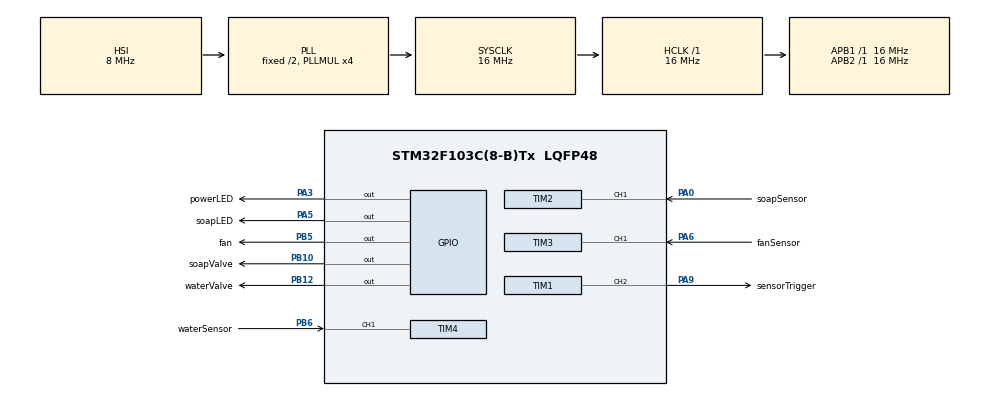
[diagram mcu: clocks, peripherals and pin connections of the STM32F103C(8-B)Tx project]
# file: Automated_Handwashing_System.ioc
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Mcu.Family=STM32F1
Mcu.Name=STM32F103C(8-B)Tx
Mcu.Package=LQFP48
NVIC.PriorityGroup=NVIC_PRIORITYGROUP_4
PA0-WKUP.GPIO_Label=soapSensor
PA0-WKUP.Signal=S_TIM2_CH1_ETR
PA13.Mode=Serial_Wire
PA13.Signal=SYS_JTMS-SWDIO
PA14.Mode=Serial_Wire
PA14.Signal=SYS_JTCK-SWCLK
PA3.GPIO_Label=powerLED
PA3.GPIO_Speed=GPIO_SPEED_FREQ_LOW
PA3.Signal=GPIO_Output
PA5.GPIO_Label=soapLED
PA5.GPIO_Speed=GPIO_SPEED_FREQ_LOW
PA5.Signal=GPIO_Output
PA6.GPIO_Label=fanSensor
PA6.Signal=S_TIM3_CH1
PA9.GPIO_Label=sensorTrigger
PA9.Signal=S_TIM1_CH2
PB10.GPIO_Label=soapValve
PB10.GPIO_Speed=GPIO_SPEED_FREQ_LOW
PB10.Signal=GPIO_Output
PB12.GPIO_Label=waterValve
PB12.GPIO_Speed=GPIO_SPEED_FREQ_LOW
PB12.PinState=GPIO_PIN_SET
PB12.Signal=GPIO_Output
PB5.GPIO_Label=fan
PB5.GPIO_Speed=GPIO_SPEED_FREQ_LOW
PB5.Signal=GPIO_Output
PB6.GPIO_Label=waterSensor
PB6.Signal=S_TIM4_CH1
ProjectManager.HeapSize=0x200
ProjectManager.StackSize=0x400
ProjectManager.TargetToolchain=STM32CubeIDE
RCC.AHBFreq_Value=16000000
RCC.APB1Freq_Value=16000000
RCC.APB1TimFreq_Value=16000000
RCC.APB2Freq_Value=16000000
RCC.APB2TimFreq_Value=16000000
RCC.HCLKFreq_Value=16000000
RCC.PLLMUL=RCC_PLL_MUL4
RCC.SYSCLKFreq_VALUE=16000000
RCC.SYSCLKSource=RCC_SYSCLKSOURCE_PLLCLK
RCC.USBFreq_Value=16000000
SH.S_TIM1_CH2.0=TIM1_CH2,PWM Generation2 CH2
SH.S_TIM2_CH1_ETR.0=TIM2_CH1,PWM_Input_1
SH.S_TIM3_CH1.0=TIM3_CH1,PWM_Input_1
SH.S_TIM4_CH1.0=TIM4_CH1,PWM_Input_1
TIM1.AutoReloadPreload=TIM_AUTORELOAD_PRELOAD_ENABLE
TIM1.Channel-PWM\ Generation2\ CH2=TIM_CHANNEL_2
TIM1.Period=32000 - 1
TIM1.Prescaler=10 - 1
TIM1.Pulse-PWM\ Generation2\ CH2=24
TIM2.AutoReloadPreload=TIM_AUTORELOAD_PRELOAD_ENABLE
TIM2.ICFilter_1=0x0F
TIM2.ICFilter_2=0x0F
TIM2.Period=16000 - 1
TIM2.Prescaler=200 - 1
TIM3.AutoReloadPreload=TIM_AUTORELOAD_PRELOAD_ENABLE
TIM3.ICFilter_1=0x0F
TIM3.ICFilter_2=0x0F
TIM3.Period=16000 - 1
TIM3.Prescaler=200 - 1
TIM4.AutoReloadPreload=TIM_AUTORELOAD_PRELOAD_ENABLE
TIM4.ICFilter_1=0x0F
TIM4.ICFilter_2=0x0F
TIM4.Period=16000 - 1
TIM4.Prescaler=200 - 1
board=custom

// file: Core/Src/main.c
/* USER CODE BEGIN Header */
/**
  ******************************************************************************
  * @file           : main.c
  * @brief          : Main program body
  ******************************************************************************
  * @attention
  *
  * Copyright (c) 2022 STMicroelectronics.
  * All rights reserved.
  *
  * This software is licensed under terms that can be found in the LICENSE file
  * in the root directory of this software component.
  * If no LICENSE file comes with this software, it is provided AS-IS.
  *
  ******************************************************************************
  */
/* USER CODE END Header */
#include "main.h"

/* USER CODE BEGIN Includes */
#include <stdbool.h>
#include "stm32f1xx_it.h"
/**
 * Important note
 * Timer 1 for all sensors (trigger pin)
 * Timer 2 for soap sensor
 * Timer 3 for fan sensor
 * Timer 4 for water sensor
 *
 * */

/* USER CODE END Includes */

/* USER CODE BEGIN PM */
//Equation: distance = pulse_width * echo_prescaler / (clkMHz * 58)
#define MIN_PULSE_WIDTH	 15 //3.2cm
#define MAX_PULSE_WIDTH	 40 //8.6cm
/* USER CODE END PM */

 TIM_HandleTypeDef htim1;
TIM_HandleTypeDef htim2;
TIM_HandleTypeDef htim3;
TIM_HandleTypeDef htim4;

void SystemClock_Config(void);
static void MX_GPIO_Init(void);
static void MX_TIM1_Init(void);
static void MX_TIM2_Init(void);
static void MX_TIM3_Init(void);
static void MX_TIM4_Init(void);

/* USER CODE BEGIN 0 */
bool HandsDetected(TIM_HandleTypeDef* htim)
{
	uint32_t pulseWidth = 0;
	if((htim->Instance->SR & TIM_SR_CC2IF) == TIM_SR_CC2IF)
	{
		pulseWidth = htim->Instance->CCR2;
	}
	if((pulseWidth >= MIN_PULSE_WIDTH) && (pulseWidth <= MAX_PULSE_WIDTH))
	{
		HAL_Delay(150);
		return true;
	}
	return false;
}

/* USER CODE END 0 */

int main(void)
{
  /* USER CODE BEGIN 1 */
  //Variable(s)
  const uint32_t soapDispensationTime = 10000; //10 secs default
  const uint32_t soapValveShutOffTime = 60000; //1 minute default
  bool soapFlowDisabled = false;
  bool soapDispenseStarted = false;
  bool soapValveShutOff = false;
  bool firstTickMeasured = false;
  uint32_t currTick = 0; //current tick
  /* USER CODE END 1 */

  /* MCU Configuration--------------------------------------------------------*/

  /* Reset of all peripherals, Initializes the Flash interface and the Systick. */
  HAL_Init();

  /* Configure the system clock */
  SystemClock_Config();

  /* Initialize all configured peripherals */
  MX_GPIO_Init();
  MX_TIM1_Init();
  MX_TIM2_Init();
  MX_TIM3_Init();
  MX_TIM4_Init();
  /* USER CODE BEGIN 2 */
  //Indicate power on (turn power LED on for some seconds, then turn off)
  HAL_GPIO_WritePin(powerLED_GPIO_Port, powerLED_Pin, GPIO_PIN_SET);
  HAL_Delay(3000);
  HAL_GPIO_WritePin(powerLED_GPIO_Port, powerLED_Pin, GPIO_PIN_RESET);
  /* USER CODE END 2 */

  /* Infinite loop */
  while (1)
  {

    /* USER CODE BEGIN 3 */
	  //Read soap sensor and actuate soap valve
	  if(HandsDetected(&htim2))
	  {
		  if(!soapFlowDisabled)
		  {
			  HAL_GPIO_WritePin(soapValve_GPIO_Port, soapValve_Pin, GPIO_PIN_SET);
			  soapDispenseStarted = true;
			  if(!firstTickMeasured)
			  {
				  currTick = HAL_GetTick();
				  firstTickMeasured = true;
			  }
		  }
	  }
	  else
	  {
		  HAL_GPIO_WritePin(soapValve_GPIO_Port, soapValve_Pin, GPIO_PIN_RESET);
	  }
	  //If soap dispensation time has elapsed, shut-off ..
	  //the soap valve and start blinking LED
	  if(soapDispenseStarted)
	  {
		  if((HAL_GetTick() - currTick) >= soapDispensationTime)
		  {
			  HAL_GPIO_WritePin(soapValve_GPIO_Port, soapValve_Pin, GPIO_PIN_RESET);
			  soapFlowDisabled = true;
			  soapValveShutOff = true;
			  soapDispenseStarted = false;
			  currTick = HAL_GetTick();
			  StartTogglingLED();
		  }
	  }
	  //If valve shut off time has elapsed, restore ....
	  //soap valve and sensor
	  if(soapValveShutOff)
	  {
		  if((HAL_GetTick() - currTick) >= soapValveShutOffTime)
		  {
			  soapValveShutOff = false;
			  soapFlowDisabled = false;
			  firstTickMeasured = false;
			  StopTogglingLED();
		  }
	  }

	  //Read fan sensor and actuate fan
	  if(HandsDetected(&htim3))
	  {
		 HAL_GPIO_WritePin(fan_GPIO_Port, fan_Pin, GPIO_PIN_SET);
	  }
	  else
	  {
		 HAL_GPIO_WritePin(fan_GPIO_Port, fan_Pin, GPIO_PIN_RESET);
	  }
	  //Read water sensor and actuate water valve
	  if(HandsDetected(&htim4))
	  {
		  HAL_GPIO_WritePin(waterValve_GPIO_Port, waterValve_Pin, GPIO_PIN_SET);
	  }
	  else
	  {
		  HAL_GPIO_WritePin(waterValve_GPIO_Port, waterValve_Pin, GPIO_PIN_RESET);
	  }
  }
  /* USER CODE END 3 */
}

void SystemClock_Config(void)
{
  RCC_OscInitTypeDef RCC_OscInitStruct = {0};
  RCC_ClkInitTypeDef RCC_ClkInitStruct = {0};

  /** Initializes the RCC Oscillators according to the specified parameters
  * in the RCC_OscInitTypeDef structure.
  */
  RCC_OscInitStruct.OscillatorType = RCC_OSCILLATORTYPE_HSI;
  RCC_OscInitStruct.HSIState = RCC_HSI_ON;
  RCC_OscInitStruct.HSICalibrationValue = RCC_HSICALIBRATION_DEFAULT;
  RCC_OscInitStruct.PLL.PLLState = RCC_PLL_ON;
  RCC_OscInitStruct.PLL.PLLSource = RCC_PLLSOURCE_HSI_DIV2;
  RCC_OscInitStruct.PLL.PLLMUL = RCC_PLL_MUL4;
  if (HAL_RCC_OscConfig(&RCC_OscInitStruct) != HAL_OK)
  {
    Error_Handler();
  }

  /** Initializes the CPU, AHB and APB buses clocks
  */
  RCC_ClkInitStruct.ClockType = RCC_CLOCKTYPE_HCLK|RCC_CLOCKTYPE_SYSCLK
                              |RCC_CLOCKTYPE_PCLK1|RCC_CLOCKTYPE_PCLK2;
  RCC_ClkInitStruct.SYSCLKSource = RCC_SYSCLKSOURCE_PLLCLK;
  RCC_ClkInitStruct.AHBCLKDivider = RCC_SYSCLK_DIV1;
  RCC_ClkInitStruct.APB1CLKDivider = RCC_HCLK_DIV1;
  RCC_ClkInitStruct.APB2CLKDivider = RCC_HCLK_DIV1;

  if (HAL_RCC_ClockConfig(&RCC_ClkInitStruct, FLASH_LATENCY_0) != HAL_OK)
  {
    Error_Handler();
  }
}

static void MX_TIM1_Init(void)
{

  TIM_MasterConfigTypeDef sMasterConfig = {0};
  TIM_OC_InitTypeDef sConfigOC = {0};
  TIM_BreakDeadTimeConfigTypeDef sBreakDeadTimeConfig = {0};

  htim1.Instance = TIM1;
  htim1.Init.Prescaler = 10 - 1;
  htim1.Init.CounterMode = TIM_COUNTERMODE_UP;
  htim1.Init.Period = 32000 - 1;
  htim1.Init.ClockDivision = TIM_CLOCKDIVISION_DIV1;
  htim1.Init.RepetitionCounter = 0;
  htim1.Init.AutoReloadPreload = TIM_AUTORELOAD_PRELOAD_ENABLE;
  if (HAL_TIM_PWM_Init(&htim1) != HAL_OK)
  {
    Error_Handler();
  }
  sMasterConfig.MasterOutputTrigger = TIM_TRGO_RESET;
  sMasterConfig.MasterSlaveMode = TIM_MASTERSLAVEMODE_DISABLE;
  if (HAL_TIMEx_MasterConfigSynchronization(&htim1, &sMasterConfig) != HAL_OK)
  {
    Error_Handler();
  }
  sConfigOC.OCMode = TIM_OCMODE_PWM1;
  sConfigOC.Pulse = 24;
  sConfigOC.OCPolarity = TIM_OCPOLARITY_HIGH;
  sConfigOC.OCNPolarity = TIM_OCNPOLARITY_HIGH;
  sConfigOC.OCFastMode = TIM_OCFAST_DISABLE;
  sConfigOC.OCIdleState = TIM_OCIDLESTATE_RESET;
  sConfigOC.OCNIdleState = TIM_OCNIDLESTATE_RESET;
  if (HAL_TIM_PWM_ConfigChannel(&htim1, &sConfigOC, TIM_CHANNEL_2) != HAL_OK)
  {
    Error_Handler();
  }
  sBreakDeadTimeConfig.OffStateRunMode = TIM_OSSR_DISABLE;
  sBreakDeadTimeConfig.OffStateIDLEMode = TIM_OSSI_DISABLE;
  sBreakDeadTimeConfig.LockLevel = TIM_LOCKLEVEL_OFF;
  sBreakDeadTimeConfig.DeadTime = 0;
  sBreakDeadTimeConfig.BreakState = TIM_BREAK_DISABLE;
  sBreakDeadTimeConfig.BreakPolarity = TIM_BREAKPOLARITY_HIGH;
  sBreakDeadTimeConfig.AutomaticOutput = TIM_AUTOMATICOUTPUT_DISABLE;
  if (HAL_TIMEx_ConfigBreakDeadTime(&htim1, &sBreakDeadTimeConfig) != HAL_OK)
  {
    Error_Handler();
  }
  /* USER CODE BEGIN TIM1_Init 2 */
  //Start PWM signal for ultrasonic sensors
  HAL_TIM_PWM_Start(&htim1,TIM_CHANNEL_2);
  /* USER CODE END TIM1_Init 2 */
  HAL_TIM_MspPostInit(&htim1);

}

static void MX_TIM2_Init(void)
{

  TIM_SlaveConfigTypeDef sSlaveConfig = {0};
  TIM_IC_InitTypeDef sConfigIC = {0};
  TIM_MasterConfigTypeDef sMasterConfig = {0};

  htim2.Instance = TIM2;
  htim2.Init.Prescaler = 200 - 1;
  htim2.Init.CounterMode = TIM_COUNTERMODE_UP;
  htim2.Init.Period = 16000 - 1;
  htim2.Init.ClockDivision = TIM_CLOCKDIVISION_DIV1;
  htim2.Init.AutoReloadPreload = TIM_AUTORELOAD_PRELOAD_ENABLE;
  if (HAL_TIM_IC_Init(&htim2) != HAL_OK)
  {
    Error_Handler();
  }
  sSlaveConfig.SlaveMode = TIM_SLAVEMODE_RESET;
  sSlaveConfig.InputTrigger = TIM_TS_TI1FP1;
  sSlaveConfig.TriggerPolarity = TIM_INPUTCHANNELPOLARITY_RISING;
  sSlaveConfig.TriggerPrescaler = TIM_ICPSC_DIV1;
  sSlaveConfig.TriggerFilter = 0x0F;
  if (HAL_TIM_SlaveConfigSynchro(&htim2, &sSlaveConfig) != HAL_OK)
  {
    Error_Handler();
  }
  sConfigIC.ICPolarity = TIM_INPUTCHANNELPOLARITY_RISING;
  sConfigIC.ICSelection = TIM_ICSELECTION_DIRECTTI;
  sConfigIC.ICPrescaler = TIM_ICPSC_DIV1;
  sConfigIC.ICFilter = 0x0F;
  if (HAL_TIM_IC_ConfigChannel(&htim2, &sConfigIC, TIM_CHANNEL_1) != HAL_OK)
  {
    Error_Handler();
  }
  sConfigIC.ICPolarity = TIM_INPUTCHANNELPOLARITY_FALLING;
  sConfigIC.ICSelection = TIM_ICSELECTION_INDIRECTTI;
  if (HAL_TIM_IC_ConfigChannel(&htim2, &sConfigIC, TIM_CHANNEL_2) != HAL_OK)
  {
    Error_Handler();
  }
  sMasterConfig.MasterOutputTrigger = TIM_TRGO_RESET;
  sMasterConfig.MasterSlaveMode = TIM_MASTERSLAVEMODE_DISABLE;
  if (HAL_TIMEx_MasterConfigSynchronization(&htim2, &sMasterConfig) != HAL_OK)
  {
    Error_Handler();
  }
  /* USER CODE BEGIN TIM2_Init 2 */
  //Start input capture
  HAL_TIM_IC_Start(&htim2,TIM_CHANNEL_1);
  HAL_TIM_IC_Start(&htim2,TIM_CHANNEL_2);
  /* USER CODE END TIM2_Init 2 */

}

static void MX_TIM3_Init(void)
{

  TIM_SlaveConfigTypeDef sSlaveConfig = {0};
  TIM_IC_InitTypeDef sConfigIC = {0};
  TIM_MasterConfigTypeDef sMasterConfig = {0};

  htim3.Instance = TIM3;
  htim3.Init.Prescaler = 200 - 1;
  htim3.Init.CounterMode = TIM_COUNTERMODE_UP;
  htim3.Init.Period = 16000 - 1;
  htim3.Init.ClockDivision = TIM_CLOCKDIVISION_DIV1;
  htim3.Init.AutoReloadPreload = TIM_AUTORELOAD_PRELOAD_ENABLE;
  if (HAL_TIM_IC_Init(&htim3) != HAL_OK)
  {
    Error_Handler();
  }
  sSlaveConfig.SlaveMode = TIM_SLAVEMODE_RESET;
  sSlaveConfig.InputTrigger = TIM_TS_TI1FP1;
  sSlaveConfig.TriggerPolarity = TIM_INPUTCHANNELPOLARITY_RISING;
  sSlaveConfig.TriggerPrescaler = TIM_ICPSC_DIV1;
  sSlaveConfig.TriggerFilter = 0x0F;
  if (HAL_TIM_SlaveConfigSynchro(&htim3, &sSlaveConfig) != HAL_OK)
  {
    Error_Handler();
  }
  sConfigIC.ICPolarity = TIM_INPUTCHANNELPOLARITY_RISING;
  sConfigIC.ICSelection = TIM_ICSELECTION_DIRECTTI;
  sConfigIC.ICPrescaler = TIM_ICPSC_DIV1;
  sConfigIC.ICFilter = 0x0F;
  if (HAL_TIM_IC_ConfigChannel(&htim3, &sConfigIC, TIM_CHANNEL_1) != HAL_OK)
  {
    Error_Handler();
  }
  sConfigIC.ICPolarity = TIM_INPUTCHANNELPOLARITY_FALLING;
  sConfigIC.ICSelection = TIM_ICSELECTION_INDIRECTTI;
  if (HAL_TIM_IC_ConfigChannel(&htim3, &sConfigIC, TIM_CHANNEL_2) != HAL_OK)
  {
    Error_Handler();
  }
  sMasterConfig.MasterOutputTrigger = TIM_TRGO_RESET;
  sMasterConfig.MasterSlaveMode = TIM_MASTERSLAVEMODE_DISABLE;
  if (HAL_TIMEx_MasterConfigSynchronization(&htim3, &sMasterConfig) != HAL_OK)
  {
    Error_Handler();
  }
  /* USER CODE BEGIN TIM3_Init 2 */
  //Start input capture
  HAL_TIM_IC_Start(&htim3,TIM_CHANNEL_1);
  HAL_TIM_IC_Start(&htim3,TIM_CHANNEL_2);
  /* USER CODE END TIM3_Init 2 */

}

static void MX_TIM4_Init(void)
{

  TIM_SlaveConfigTypeDef sSlaveConfig = {0};
  TIM_IC_InitTypeDef sConfigIC = {0};
  TIM_MasterConfigTypeDef sMasterConfig = {0};

  htim4.Instance = TIM4;
  htim4.Init.Prescaler = 200 - 1;
  htim4.Init.CounterMode = TIM_COUNTERMODE_UP;
  htim4.Init.Period = 16000 - 1;
  htim4.Init.ClockDivision = TIM_CLOCKDIVISION_DIV1;
  htim4.Init.AutoReloadPreload = TIM_AUTORELOAD_PRELOAD_ENABLE;
  if (HAL_TIM_IC_Init(&htim4) != HAL_OK)
  {
    Error_Handler();
  }
  sSlaveConfig.SlaveMode = TIM_SLAVEMODE_RESET;
  sSlaveConfig.InputTrigger = TIM_TS_TI1FP1;
  sSlaveConfig.TriggerPolarity = TIM_INPUTCHANNELPOLARITY_RISING;
  sSlaveConfig.TriggerPrescaler = TIM_ICPSC_DIV1;
  sSlaveConfig.TriggerFilter = 0x0F;
  if (HAL_TIM_SlaveConfigSynchro(&htim4, &sSlaveConfig) != HAL_OK)
  {
    Error_Handler();
  }
  sConfigIC.ICPolarity = TIM_INPUTCHANNELPOLARITY_RISING;
  sConfigIC.ICSelection = TIM_ICSELECTION_DIRECTTI;
  sConfigIC.ICPrescaler = TIM_ICPSC_DIV1;
  sConfigIC.ICFilter = 0x0F;
  if (HAL_TIM_IC_ConfigChannel(&htim4, &sConfigIC, TIM_CHANNEL_1) != HAL_OK)
  {
    Error_Handler();
  }
  sConfigIC.ICPolarity = TIM_INPUTCHANNELPOLARITY_FALLING;
  sConfigIC.ICSelection = TIM_ICSELECTION_INDIRECTTI;
  if (HAL_TIM_IC_ConfigChannel(&htim4, &sConfigIC, TIM_CHANNEL_2) != HAL_OK)
  {
    Error_Handler();
  }
  sMasterConfig.MasterOutputTrigger = TIM_TRGO_RESET;
  sMasterConfig.MasterSlaveMode = TIM_MASTERSLAVEMODE_DISABLE;
  if (HAL_TIMEx_MasterConfigSynchronization(&htim4, &sMasterConfig) != HAL_OK)
  {
    Error_Handler();
  }
  /* USER CODE BEGIN TIM4_Init 2 */
  //Start input capture
  HAL_TIM_IC_Start(&htim4,TIM_CHANNEL_1);
  HAL_TIM_IC_Start(&htim4,TIM_CHANNEL_2);
  /* USER CODE END TIM4_Init 2 */

}

static void MX_GPIO_Init(void)
{
  GPIO_InitTypeDef GPIO_InitStruct = {0};

  /* GPIO Ports Clock Enable */
  __HAL_RCC_GPIOA_CLK_ENABLE();
  __HAL_RCC_GPIOB_CLK_ENABLE();

  /*Configure GPIO pin Output Level */
  HAL_GPIO_WritePin(GPIOA, powerLED_Pin|soapLED_Pin, GPIO_PIN_RESET);

  /*Configure GPIO pin Output Level */
  HAL_GPIO_WritePin(GPIOB, soapValve_Pin|waterValve_Pin|fan_Pin, GPIO_PIN_RESET);

  /*Configure GPIO pins : powerLED_Pin soapLED_Pin */
  GPIO_InitStruct.Pin = powerLED_Pin|soapLED_Pin;
  GPIO_InitStruct.Mode = GPIO_MODE_OUTPUT_PP;
  GPIO_InitStruct.Pull = GPIO_NOPULL;
  GPIO_InitStruct.Speed = GPIO_SPEED_FREQ_LOW;
  HAL_GPIO_Init(GPIOA, &GPIO_InitStruct);

  /*Configure GPIO pins : soapValve_Pin waterValve_Pin fan_Pin */
  GPIO_InitStruct.Pin = soapValve_Pin|waterValve_Pin|fan_Pin;
  GPIO_InitStruct.Mode = GPIO_MODE_OUTPUT_PP;
  GPIO_InitStruct.Pull = GPIO_NOPULL;
  GPIO_InitStruct.Speed = GPIO_SPEED_FREQ_LOW;
  HAL_GPIO_Init(GPIOB, &GPIO_InitStruct);

}

void Error_Handler(void)
{
  __disable_irq();
  while (1)
  {
  }
}
